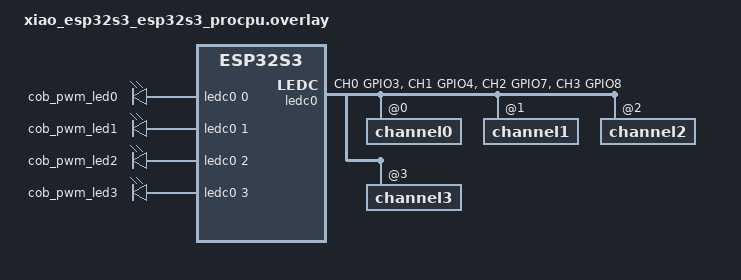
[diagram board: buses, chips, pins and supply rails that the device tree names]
/*
 * SPDX-FileCopyrightText: Copyright The Zephyr Project Contributors
 * SPDX-License-Identifier: Apache-2.0
 */

#include <zephyr/dt-bindings/pinctrl/esp32s3-pinctrl.h>
#include <zephyr/dt-bindings/pwm/pwm.h>

/ {
	aliases {
		pwm-led0 = &cob_pwm_led0;
		pwm-led1 = &cob_pwm_led1;
		pwm-led2 = &cob_pwm_led2;
		pwm-led3 = &cob_pwm_led3;
	};

	cob_pwm_leds {
		compatible = "pwm-leds";

		cob_pwm_led0: pwm_led_0 {
			pwms = <&ledc0 0 PWM_MSEC(20) PWM_POLARITY_INVERTED>;
		};

		cob_pwm_led1: pwm_led_1 {
			pwms = <&ledc0 1 PWM_MSEC(20) PWM_POLARITY_INVERTED>;
		};

		cob_pwm_led2: pwm_led_2 {
			pwms = <&ledc0 2 PWM_MSEC(20) PWM_POLARITY_INVERTED>;
		};

		cob_pwm_led3: pwm_led_3 {
			pwms = <&ledc0 3 PWM_MSEC(20) PWM_POLARITY_INVERTED>;
		};
	};
};

&pinctrl {
	cob_ledc0_default: cob_ledc0_default {
		group1 {
			pinmux = <LEDC_CH0_GPIO3>,
				 <LEDC_CH1_GPIO4>,
				 <LEDC_CH2_GPIO7>,
				 <LEDC_CH3_GPIO8>;
			output-enable;
		};
	};
};

&ledc0 {
	pinctrl-0 = <&cob_ledc0_default>;
	pinctrl-names = "default";
	status = "okay";
	#address-cells = <1>;
	#size-cells = <0>;

	channel0@0 {
		reg = <0x0>;
		timer = <0>;
	};

	channel1@1 {
		reg = <0x1>;
		timer = <0>;
	};

	channel2@2 {
		reg = <0x2>;
		timer = <1>;
	};

	channel3@3 {
		reg = <0x3>;
		timer = <1>;
	};
};
